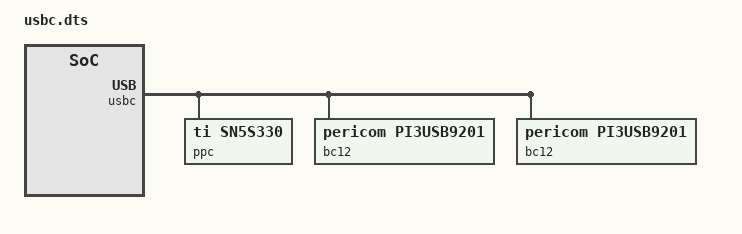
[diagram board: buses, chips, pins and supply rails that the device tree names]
/ {
	usbc {
		port0: usbc-port0 {
			ppc {
				compatible = "ti,sn5s330";
				port = <&i2c_usb_c0>;
				i2c-addr-flags = "SN5S330_ADDR0_FLAGS";
			}
			bc12 {
				compatible = "pericom,pi3usb9201";
				port = <&i2c_usb_c0>;
				irq = <&gpio_usb_c0_bc12_int_odl>;
			};
		};

		port1: usbc-port1 {
			bc12 {
				compatible = "pericom,pi3usb9201";
				port = <&i2c_usb_c1>;
				irq = <&gpio_usb_c1_bc12_int_odl>;
			};
		};
	};
};
